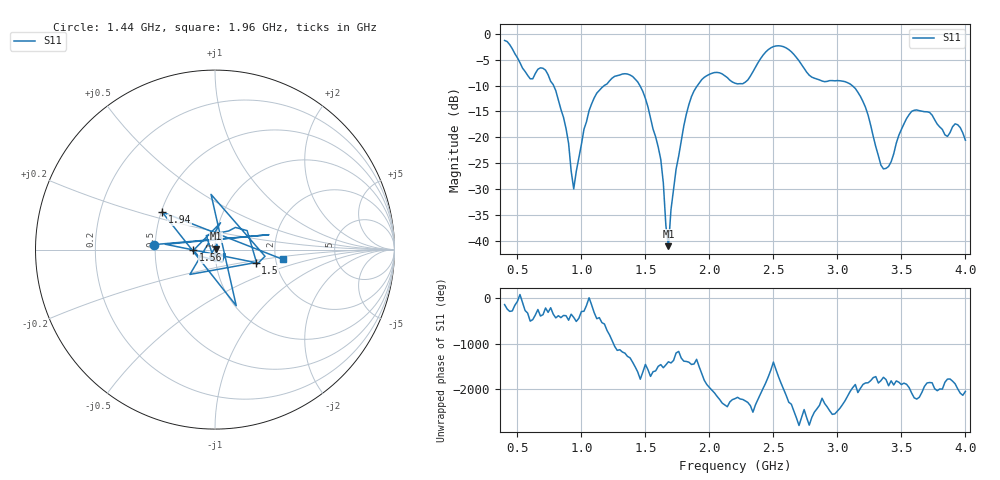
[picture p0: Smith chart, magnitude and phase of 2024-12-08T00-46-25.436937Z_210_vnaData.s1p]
!Created with skrf (http://scikit-rf.org).
# Hz S RI R 50.0
!freq ReS11 ImS11
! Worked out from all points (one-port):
!   181 points, 400 MHz to 4 GHz, reference 50 ohm
!   lowest |S11| = -41.0 dB at 1.68 GHz (marker M1), VSWR 1.02, Z = 50.7 + j0.58 ohm
!   |S11| at or under -10 dB: 783.1 MHz to 1.178 GHz (394.9 MHz wide, 40.3 % of centre); 1.457 GHz to 1.906 GHz (449.1 MHz wide, 26.7 % of centre); 3.116 GHz to end of sweep
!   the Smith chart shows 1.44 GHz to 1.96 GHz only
!   S11 on the Smith chart (normalised r, x): 1.44 GHz: 0.49, +0.03; 1.5 GHz: 1.56, -0.24; 1.56 GHz: 0.79, -0.01; 1.94 GHz: 0.51, +0.24; 1.96 GHz: 2.18, -0.28
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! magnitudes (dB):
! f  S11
! 400 MHz  -1.3
! 600 MHz  -8.7
! 720 MHz  -7.0
! 860 MHz  -16.1
! 940 MHz  -30.0
! 1.08 GHz  -13.5
! 1.3 GHz  -8.0
! 1.44 GHz  -9.3
! 1.5 GHz  -12.5
! 1.56 GHz  -18.4
! 1.62 GHz  -24.3
! 1.68 GHz  -41.0
! 1.7 GHz  -34.0
! 1.76 GHz  -23.6
! 1.84 GHz  -13.6
! 1.94 GHz  -8.8
! 1.96 GHz  -8.4
! 2.2 GHz  -9.5
! 2.48 GHz  -2.7
! 2.66 GHz  -4.0
! 2.8 GHz  -8.4
! 3.1 GHz  -9.7
! 3.22 GHz  -14.2
! 3.36 GHz  -26.1
! 3.56 GHz  -15.6
! 3.86 GHz  -19.8
! 3.94 GHz  -17.6
! 4 GHz  -20.5
